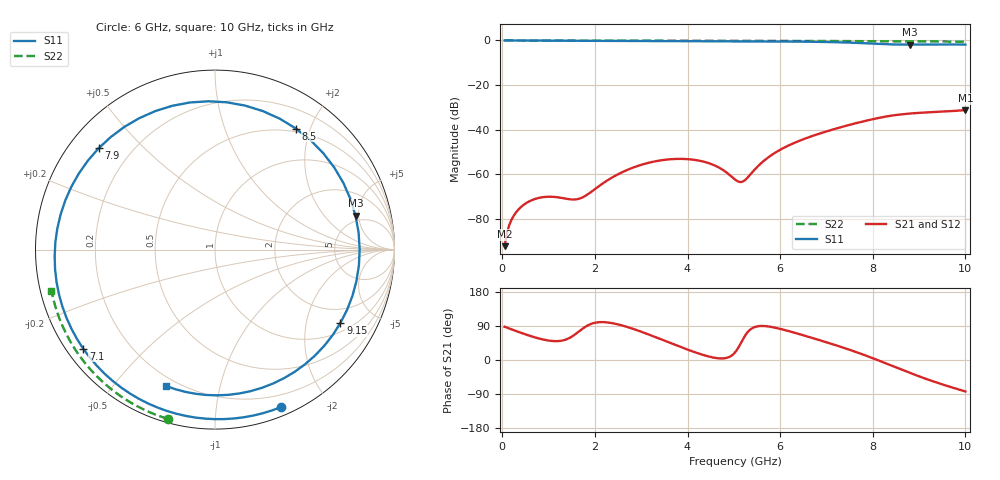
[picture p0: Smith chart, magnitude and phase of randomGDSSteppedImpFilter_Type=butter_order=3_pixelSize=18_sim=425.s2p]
! freq	dB(S11)	phase(S11)	dB(S12)	phase(S12)
!  dB(S21)	phase(S21)	dB(S22)	phase(S22)
!S-par simulation data
#  GHz  S  DB  R 50
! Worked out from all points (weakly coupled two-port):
!   200 points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, 50 MHz to 10 GHz, reference 50 ohm
!   highest |S21| = -31.26 dB at 10 GHz (marker M1); lowest = -92.3 dB at 50 MHz (marker M2)
!   lowest |S11| = -1.9 dB at 8.8 GHz (marker M3), VSWR 9.28, Z = 213 + j228 ohm
!   |S11| at or under -10 dB: nowhere
!   |S22| runs from -0.5 to 0.0 dB; largest |S21 - S12| = 0
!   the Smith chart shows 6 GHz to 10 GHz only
!   S11 on the Smith chart (normalised r, x): 6 GHz: 0.08, -1.50; 7.1 GHz: 0.05, -0.33; 7.9 GHz: 0.09, +0.37; 8.5 GHz: 0.45, +1.78; 9.15 GHz: 1.34, -3.17; 10 GHz: 0.16, -0.69
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0.05  -0.00 -3.7  -92.34 87.7  -92.34 87.7  -0.00 -1.0
0.45  -0.05 -33.3  -73.97 69.8  -73.97 69.8  -0.01 -8.7
0.95  -0.09 -69.6  -70.18 52.3  -70.18 52.3  -0.02 -18.2
1.75  -0.15 -126.1  -70.27 84.1  -70.27 84.1  -0.04 -33.3
2.2  -0.18 -157.5  -63.76 99.9  -63.76 99.9  -0.05 -41.6
2.6  -0.21 174.3  -59.03 90.7  -59.03 90.7  -0.06 -48.9
3.4  -0.26 116.4  -53.90 56.0  -53.90 56.0  -0.08 -63.0
4.1  -0.29 64.2  -53.47 23.0  -53.47 23.0  -0.10 -75.0
4.6  -0.32 27.5  -56.23 5.5  -56.23 5.5  -0.12 -83.3
5.05  -0.34 -4.3  -62.81 23.8  -62.81 23.8  -0.14 -90.6
5.2  -0.35 -14.6  -63.28 55.7  -63.28 55.7  -0.15 -93.0
6  -0.43 -67.3  -49.08 82.2  -49.08 82.2  -0.19 -105.6
6.7  -0.59 -113.6  -42.86 57.9  -42.86 57.9  -0.23 -116.4
7.1  -0.74 -143.1  -40.21 42.9  -40.21 42.9  -0.25 -122.4
7.55  -1.01 177.3  -37.60 24.9  -37.60 24.9  -0.29 -129.1
7.9  -1.31 139.0  -35.81 9.4  -35.81 9.4  -0.32 -134.3
8.35  -1.73 78.2  -33.91 -12.0  -33.91 -12.0  -0.36 -141.0
8.5  -1.82 56.3  -33.47 -19.2  -33.47 -19.2  -0.37 -143.3
8.8  -1.88 13.5  -32.81 -33.8  -32.81 -33.8  -0.40 -147.7
9.15  -1.83 -30.3  -32.31 -49.9  -32.31 -49.9  -0.44 -153.0
9.55  -1.80 -71.3  -31.88 -66.3  -31.88 -66.3  -0.49 -159.0
10  -1.86 -109.7  -31.26 -83.1  -31.26 -83.1  -0.54 -166.0
